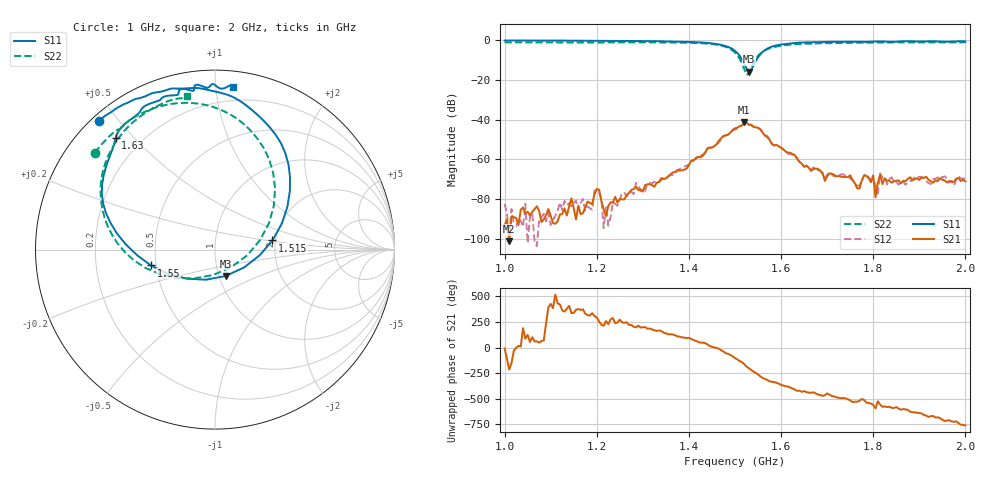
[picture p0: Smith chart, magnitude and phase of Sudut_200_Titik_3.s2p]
# Hz S RI R 50
! CMT, C1220, 16058040, 17.2.0/1
! Date: 14/08/2018 12:39:28
! Data: Format (Calibration Info)
! Freq  S11: Re/Im (F2)  S21: Re/Im (F2)  S12: Re/Im (F2)  S22: Re/Im (F2)
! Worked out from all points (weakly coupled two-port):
!   201 points, 1 GHz to 2 GHz, reference 50 ohm
!   highest |S21| = -41.37 dB at 1.52 GHz (marker M1); lowest = -101.1 dB at 1.01 GHz (marker M2)
!   lowest |S11| = -16.0 dB at 1.53 GHz (marker M3), VSWR 1.38, Z = 53.8 - j16.2 ohm
!   |S11| at or under -10 dB: 1.515 GHz to 1.547 GHz (31.03 MHz wide, 2.03 % of centre)
!   |S22| runs from -17.5 to -1.2 dB; largest |S21 - S12| = 0.00036
!   S11 on the Smith chart (normalised r, x): 1 GHz: 0.02, +0.44; 1.515 GHz: 1.93, +0.22; 1.55 GHz: 0.47, -0.10; 1.63 GHz: 0.11, +0.45; 2 GHz: 0.10, +1.11
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1e9  -0.6481 0.7144  2.12e-05 -3.24e-06  2.74e-05 -7.17e-05  -0.6703 0.5399
1.01e9  -0.6351 0.7242  -7.26e-06 5.01e-06  -7.74e-06 -1.09e-05  -0.6643 0.5468
1.17e9  -0.4759 0.8236  4.35e-05 1.1e-05  7.73e-05 -6.6e-05  -0.5586 0.6575
1.2e9  -0.4346 0.8408  7.35e-05 -0.000166  3.63e-05 -0.000156  -0.5297 0.6716
1.26e9  -0.3449 0.8729  -4.61e-05 -8.86e-05  -7.54e-06 -0.000144  -0.48 0.7181
1.335e9  -0.2148 0.897  -0.000265 6.03e-05  -0.000253 8.76e-05  -0.374 0.7748
1.45e9  0.1857 0.7941  0.00195 0.000254  0.00201 0.000135  0.0172 0.7848
1.5e9  0.4171 0.3262  -0.00135 -0.00585  -0.0013 -0.00549  0.3348 0.3412
1.515e9  0.3202 0.0511  -0.00569 -0.00432  -0.00563 -0.00451  0.2513 0.0538
1.52e9  0.2491 -0.0317  -0.00811 -0.00266  -0.00813 -0.00276  0.1807 -0.0311
1.53e9  0.0597 -0.1469  -0.0068 0.00288  -0.00683 0.00288  -0.01 -0.1414
1.55e9  -0.3567 -0.0885  -0.000743 0.00614  -0.000952 0.00615  -0.3848 -0.1036
1.63e9  -0.5531 0.6242  0.000786 -0.001  0.000817 -0.000954  -0.616 0.4659
1.67e9  -0.4371 0.7494  0.000122 -0.00056  0.000164 -0.000606  -0.5631 0.5828
1.75e9  -0.2896 0.8492  -0.000364 -0.000164  -0.000316 -9.85e-05  -0.4587 0.7081
1.77e9  -0.2359 0.8591  -0.000174 -6.21e-05  -0.000208 -8.77e-05  -0.4347 0.7282
1.8e9  -0.2013 0.8829  -0.000371 0.000147  -0.000281 6.18e-05  -0.3975 0.7553
1.805e9  -0.1977 0.8893  -6.4e-05 9.21e-05  -0.000187 0.000141  -0.3917 0.7598
1.81e9  -0.1911 0.8935  -0.00025 -6.64e-05  -0.000138 7.58e-06  -0.3859 0.7639
1.815e9  -0.1815 0.8952  -0.000391 0.000131  -0.000447 2.68e-05  -0.3798 0.7675
1.835e9  -0.1297 0.8849  -0.000226 0.000182  -0.000206 0.000248  -0.3565 0.7818
2e9  0.1027 0.9079  0.000209 -0.000188  0.000236 -0.000226  -0.1565 0.8541
